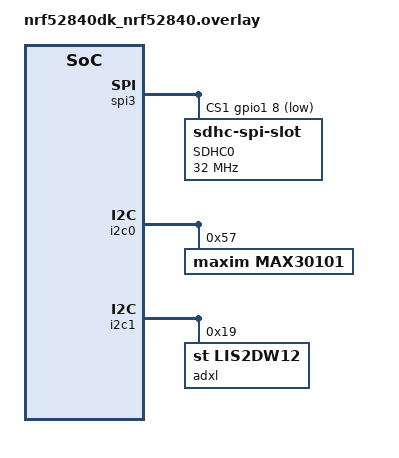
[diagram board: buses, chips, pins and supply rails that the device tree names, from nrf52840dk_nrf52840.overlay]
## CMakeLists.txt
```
#-------------------------------------------------------------------------------
# Zephyr Example Application
#
# Copyright (c) 2021 Nordic Semiconductor ASA
# SPDX-License-Identifier: Apache-2.0

cmake_minimum_required(VERSION 3.13.1)

set(CMAKE_CXX_STANDARD 17)
set(CMAKE_CXX_STANDARD_REQUIRED ON)

set(CONFIG_LIB_CPLUSPLUS ON)
set(CONFIG_NEWLIB_LIBC ON)

find_package(Zephyr REQUIRED HINTS $ENV{ZEPHYR_BASE})

project(app)

file(GLOB_RECURSE SRCS_CPP ${CMAKE_SOURCE_DIR}/src/*.cpp)
file(GLOB_RECURSE SRCS_C ${CMAKE_SOURCE_DIR}/src/*.c)

target_sources(app PRIVATE ${SRCS_CPP} ${SRCS_C})
target_include_directories(app PRIVATE
    ${CMAKE_SOURCE_DIR}/src)
```

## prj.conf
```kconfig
# Copyright (c) 2021 Nordic Semiconductor ASA
# SPDX-License-Identifier: Apache-2.0
#
# This file contains selected Kconfig options for the application.
# CONFIG_SHELL=y

CONFIG_MAIN_STACK_SIZE=4096

CONFIG_ST7789V=y
CONFIG_ST7789V_RGB565=y
CONFIG_DISPLAY=y
CONFIG_DISPLAY_LOG_LEVEL_ERR=y

CONFIG_LOG=y
CONFIG_LOG_PRINTK=y

CONFIG_LVGL=y
CONFIG_LV_Z_MEM_POOL_SIZE=8192
# CONFIG_LV_Z_SHELL=y
CONFIG_LV_USE_LOG=y
CONFIG_LV_LOG_LEVEL_WARN=y
CONFIG_LV_USE_LABEL=y
CONFIG_LV_USE_IMG=y
CONFIG_LV_USE_PNG=y
CONFIG_LV_FONT_MONTSERRAT_14=y
CONFIG_LV_THEME_DEFAULT_DARK=n
CONFIG_LV_Z_USE_FILESYSTEM=y

CONFIG_BT=y
CONFIG_BT_PERIPHERAL=y
CONFIG_BT_DEVICE_NAME="MDPP"

# Enable the NUS service
CONFIG_BT_ZEPHYR_NUS=y

# Enable power management
CONFIG_PM_DEVICE=y
CONFIG_POWEROFF=y

CONFIG_SPI=y

CONFIG_DISK_ACCESS=y
CONFIG_DISK_DRIVERS=y
CONFIG_FAT_FILESYSTEM_ELM=y
CONFIG_FILE_SYSTEM=y
CONFIG_FILE_SYSTEM_SHELL=y

CONFIG_DISK_DRIVER_SDMMC=y

# Enable C++
CONFIG_CPP=y
CONFIG_NEWLIB_LIBC=y
CONFIG_NEWLIB_LIBC_FLOAT_PRINTF=y
CONFIG_CBPRINTF_FP_SUPPORT=y

# MAX30101  
CONFIG_I2C=y
CONFIG_SENSOR=y
CONFIG_MAX30101=y
CONFIG_MAX30101_MULTI_LED_MODE=y
CONFIG_MAX30101_ADC_RGE=3
CONFIG_MAX30101_LED1_PA=0x19
CONFIG_MAX30101_LED2_PA=0x19
CONFIG_MAX30101_LED3_PA=0x19
CONFIG_MAX30101_SLOT1=1
CONFIG_MAX30101_SLOT2=2
CONFIG_MAX30101_SLOT3=3
CONFIG_MAX30101_SLOT4=0

# Enable ADXL
CONFIG_LIS2DW12=y
CONFIG_SENSOR=y

# Enable MCUBOOT
CONFIG_BOOTLOADER_MCUBOOT=y

CONFIG_CMSIS_DSP=y
CONFIG_CMSIS_DSP_FILTERING=y
```

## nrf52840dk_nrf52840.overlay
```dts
// To get started, press Ctrl+Space to bring up the completion menu and view the available nodes.

// You can also use the buttons in the sidebar to perform actions on nodes.
// Actions currently available include:

// * Enabling / disabling the node
// * Adding the bus to a bus
// * Removing the node
// * Connecting ADC channels

// For more help, browse the DeviceTree documentation at https: //docs.zephyrproject.org/latest/guides/dts/index.html
// You can also visit the nRF DeviceTree extension documentation at https: //docs.nordicsemi.com/bundle/nrf-connect-vscode/page/guides/ncs_configure_app.html#devicetree-support-in-the-extension

&spi1 {
	status = "disabled";
};

&spi3 {
	status = "okay";
	cs-gpios = <&gpio1 12 GPIO_ACTIVE_LOW>, <&gpio1 8 GPIO_ACTIVE_LOW>;

	sdhc0: sdhc@1 {
		compatible = "zephyr,sdhc-spi-slot";
		reg = <1>;
		status = "okay";
		label = "SDHC0";		
		mmc {
			compatible = "zephyr,sdmmc-disk";
			status = "okay";
			disk-name = "SD";
		};
		spi-max-frequency = <32000000>;
	};
};

&i2c0 {
	max30101@57 {
		status = "okay";
		compatible = "maxim,max30101";
		reg = <0x57>;
	};
};

&i2c1 {
	status = "okay";
	adxl@19 {
		status = "okay";
		compatible = "st,lis2dw12";
		reg = <0x19>;	
		odr = <400>;
		power-mode = <4>;	
		low-noise;
	};
};

// &uart0 {
// 	current-speed = <460800>;
// };
```

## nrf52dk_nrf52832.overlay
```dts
// To get started, press Ctrl+Space to bring up the completion menu and view the available nodes.

// You can also use the buttons in the sidebar to perform actions on nodes.
// Actions currently available include:

// * Enabling / disabling the node
// * Adding the bus to a bus
// * Removing the node
// * Connecting ADC channels

// For more help, browse the DeviceTree documentation at https: //docs.zephyrproject.org/latest/guides/dts/index.html
// You can also visit the nRF DeviceTree extension documentation at https: //docs.nordicsemi.com/bundle/nrf-connect-vscode/page/guides/ncs_configure_app.html#devicetree-support-in-the-extension

&spi1 {
	status = "disabled";
};

&spi2 {
	status = "okay";
	cs-gpios = <&gpio0 22 GPIO_ACTIVE_LOW>, <&gpio0 18 GPIO_ACTIVE_LOW>;

	sdhc0: sdhc@1 {
		compatible = "zephyr,sdhc-spi-slot";
		reg = <1>;
		status = "okay";
		label = "SDHC0";		
		mmc {
			compatible = "zephyr,sdmmc-disk";
			status = "okay";
			disk-name = "SD";
		};
		spi-max-frequency = <32000000>;
	};
};

&i2c0 {
	max30101@57 {
		status = "okay";
		compatible = "maxim,max30101";
		reg = <0x57>;
	};
};

&i2c1 {
	status = "okay";
	adxl@19 {
		status = "okay";
		compatible = "st,lis2dw12";
		reg = <0x19>;	
		odr = <400>;
		power-mode = <4>;	
		low-noise;
	};
};

// &uart0 {
// 	current-speed = <460800>;
// };
```

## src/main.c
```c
/*
 * Copyright (c) 2021 Nordic Semiconductor ASA
 * SPDX-License-Identifier: Apache-2.0
 */

#include <zephyr/kernel.h>
#include <zephyr/drivers/sensor.h>
#include <zephyr/logging/log.h>
#include <zephyr/drivers/display.h>
#include <zephyr/drivers/gpio.h>

#include <lvgl.h>

#include <zephyr/bluetooth/bluetooth.h>
#include <zephyr/bluetooth/uuid.h>
#include <zephyr/bluetooth/gatt.h>
#include <zephyr/bluetooth/hci.h>
#include <zephyr/bluetooth/services/nus.h>

#include <zephyr/pm/device.h>
#include <zephyr/sys/poweroff.h>

#include <zephyr/storage/disk_access.h>
#include <zephyr/fs/fs.h>

#include <ff.h>

#include <app_version.h>

LOG_MODULE_REGISTER(main, CONFIG_APP_LOG_LEVEL);

#define DISK_DRIVE_NAME "SD"
#define DISK_MOUNT_PT "/" DISK_DRIVE_NAME ":"
#define IMG_FILE_PATH "/" DISK_DRIVE_NAME ":/51.png"

#define FS_RET_OK FR_OK

#define MAX_PATH 128
#define SOME_FILE_NAME "some.dat"
#define SOME_DIR_NAME "some"
#define SOME_REQUIRED_LEN MAX(sizeof(SOME_FILE_NAME), sizeof(SOME_DIR_NAME))

static int lsdir(const char *path);

static const char *disk_mount_pt = DISK_MOUNT_PT;

static FATFS fat_fs;
/* mounting info */
static struct fs_mount_t mp = {
	.type = FS_FATFS,
	.fs_data = &fat_fs,
};

#define DEVICE_NAME CONFIG_BT_DEVICE_NAME
#define DEVICE_NAME_LEN (sizeof(DEVICE_NAME) - 1)

lv_obj_t *text_label;

static const struct gpio_dt_spec sw0 = GPIO_DT_SPEC_GET(DT_ALIAS(sw0), gpios);
static const struct gpio_dt_spec led0 = GPIO_DT_SPEC_GET(DT_ALIAS(led0), gpios);
static const struct gpio_dt_spec led1 = GPIO_DT_SPEC_GET(DT_ALIAS(led1), gpios);
static const struct gpio_dt_spec led2 = GPIO_DT_SPEC_GET(DT_ALIAS(led2), gpios);

const struct device *display_dev;

static struct bt_conn *current_conn;

static struct k_work advertise_work;

void parse_data(uint8_t *data, uint16_t len);

static const struct bt_data ad[] = {
	BT_DATA_BYTES(BT_DATA_FLAGS, (BT_LE_AD_GENERAL | BT_LE_AD_NO_BREDR)),
	BT_DATA(BT_DATA_NAME_COMPLETE, DEVICE_NAME, DEVICE_NAME_LEN),
};

static const struct bt_data sd[] = {
	BT_DATA_BYTES(BT_DATA_UUID128_ALL, BT_UUID_NUS_SRV_VAL),
};

static void notif_enabled(bool enabled, void *ctx)
{
	ARG_UNUSED(ctx);

	printk("%s() - %s\n", __func__, (enabled ? "Enabled" : "Disabled"));

	if (enabled)
	{
		lv_label_set_text(text_label, "BLE Notifications Enabled");
		lv_obj_align(text_label, LV_ALIGN_TOP_LEFT, 0, 0);
		gpio_pin_set_dt(&led2, 1);
	}
	else
	{
		lv_label_set_text(text_label, "BLE Notifications Disabled");
		lv_obj_align(text_label, LV_ALIGN_TOP_LEFT, 0, 0);
		gpio_pin_set_dt(&led2, 0);
	}
}

static void received(struct bt_conn *conn, const void *data, uint16_t len, void *ctx)
{
	ARG_UNUSED(conn);
	ARG_UNUSED(ctx);

	char addr[BT_ADDR_LE_STR_LEN] = {0};

	bt_addr_le_to_str(bt_conn_get_dst(conn), addr, ARRAY_SIZE(addr));

	LOG_INF("Received data from: %s", addr);

	parse_data((uint8_t *)data, len);
}

struct bt_nus_cb nus_listener = {
	.notif_enabled = notif_enabled,
	.received = received,
};

static void advertise(struct k_work *work)
{
	int err;

	err = bt_le_adv_start(BT_LE_ADV_CONN_FAST_1, ad, ARRAY_SIZE(ad), sd, ARRAY_SIZE(sd));
	if (err) {
		LOG_ERR("Advertising failed to start (rc %d)", err);
		return;
	}

	LOG_INF("Advertising successfully started");
}


static void connected(struct bt_conn *conn, uint8_t err)
{
	char addr[BT_ADDR_LE_STR_LEN];

	if (err)
	{
		LOG_ERR("Connection failed, err 0x%02x %s", err, bt_hci_err_to_str(err));
		k_work_submit(&advertise_work);
		return;
	}

	bt_addr_le_to_str(bt_conn_get_dst(conn), addr, sizeof(addr));
	LOG_INF("Connected %s", addr);

	current_conn = bt_conn_ref(conn);

	lv_label_set_text(text_label, "BLE Connected");
	lv_obj_align(text_label, LV_ALIGN_TOP_LEFT, 0, 0);

	gpio_pin_set_dt(&led1, 1);
}

static void disconnected(struct bt_conn *conn, uint8_t reason)
{
	char addr[BT_ADDR_LE_STR_LEN];

	bt_addr_le_to_str(bt_conn_get_dst(conn), addr, sizeof(addr));

	LOG_INF("Disconnected: %s, reason 0x%02x %s", addr, reason, bt_hci_err_to_str(reason));

	if (current_conn)
	{
		bt_conn_unref(current_conn);
		current_conn = NULL;
	}

	lv_label_set_text(text_label, "BLE Disconnected");
	lv_obj_align(text_label, LV_ALIGN_TOP_LEFT, 0, 0);

	gpio_pin_set_dt(&led1, 0);
	gpio_pin_set_dt(&led2, 0);
}

static void on_conn_recycled(void)
{
	k_work_submit(&advertise_work);
}

BT_CONN_CB_DEFINE(conn_callbacks) = {
	.connected = connected,
	.disconnected = disconnected,
	.recycled = on_conn_recycled,
};

static void bt_ready(int err)
{
	if (err != 0) {
		LOG_ERR("Bluetooth failed to initialise: %d", err);
	} else {
		k_work_submit(&advertise_work);
	}
}

void system_off(void)
{
	int err;

	LOG_INF("System off");

	err = pm_device_action_run(display_dev, PM_DEVICE_ACTION_SUSPEND);
	if (err < 0)
	{
		printf("Could not suspend display (%d)\n", err);
	}

	gpio_pin_set_dt(&led0, 0);
	gpio_pin_set_dt(&led1, 0);
	gpio_pin_set_dt(&led2, 0);

	sys_poweroff();
}

// prase received data
void parse_data(uint8_t *data, uint16_t len)
{
	// command "OFF"

	if (len == 3 && data[0] == 'O' && data[1] == 'F' && data[2] == 'F')
	{
		LOG_INF("Received OFF command");

		system_off();
	}
}

/* List dir entry by path
 *
 * @param path Absolute path to list
 *
 * @return Negative errno code on error, number of listed entries on
 *         success.
 */
static int lsdir(const char *path)
{
	int res;
	struct fs_dir_t dirp;
	static struct fs_dirent entry;
	int count = 0;

	fs_dir_t_init(&dirp);

	/* Verify fs_opendir() */
	res = fs_opendir(&dirp, path);
	if (res)
	{
		printk("Error opening dir %s [%d]\n", path, res);
		return res;
	}

	printk("\nListing dir %s ...\n", path);
	for (;;)
	{
		/* Verify fs_readdir() */
		res = fs_readdir(&dirp, &entry);

		/* entry.name[0] == 0 means end-of-dir */
		if (res || entry.name[0] == 0)
		{
			break;
		}

		if (entry.type == FS_DIR_ENTRY_DIR)
		{
			printk("[DIR ] %s\n", entry.name);
		}
		else
		{
			printk("[FILE] %s (size = %zu)\n",
				   entry.name, entry.size);
		}
		count++;
	}

	/* Verify fs_closedir() */
	fs_closedir(&dirp);
	if (res == 0)
	{
		res = count;
	}

	return res;
}

static int init_sd_card(void)
{
	static const char *disk_pdrv = "SD";
	uint64_t memory_size_mb;
	uint32_t block_count;
	uint32_t block_size;

	int err;

	if (disk_access_ioctl(disk_pdrv,
						  DISK_IOCTL_CTRL_INIT, NULL) != 0)
	{
		LOG_ERR("Storage init ERROR!");
		return -1;
	}

	if (disk_access_ioctl(disk_pdrv, DISK_IOCTL_GET_SECTOR_COUNT, &block_count))
	{
		printk("Unable to get sector count");
		return -1;
	}

	if (disk_access_ioctl(disk_pdrv, DISK_IOCTL_GET_SECTOR_SIZE, &block_size))
	{
		printk("Unable to get sector size");
		return -1;
	}

	memory_size_mb = (uint64_t)block_count * block_size / (1024 * 1024);
	printk("Memory Size(MB): %u\n", (uint32_t)memory_size_mb);

	if (disk_access_ioctl(disk_pdrv,
						  DISK_IOCTL_CTRL_DEINIT, NULL) != 0)
	{
		LOG_ERR("Storage deinit ERROR!");
		return -1;
	}

	mp.mnt_point = disk_mount_pt;

	err = fs_mount(&mp);
	if (err)
	{
		printk("Error mounting fat_fs [%d]\n", err);
		return err;
	}

	if (lsdir(disk_mount_pt) == 0)
	{
	}

	return 0;
}

int main(void)
{
	int ret;

	printk("Zephyr Example Application %s\n", APP_VERSION_STRING);

	display_dev = DEVICE_DT_GET(DT_CHOSEN(zephyr_display));
	if (!device_is_ready(display_dev))
	{
		LOG_ERR("Device not ready, aborting test");
		return 0;
	}

	if (init_sd_card() != 0)
	{
		LOG_ERR("Failed to initialize SD card\n");
		return 0;
	}

	ret = gpio_pin_configure_dt(&sw0, GPIO_INPUT);
	if (ret < 0)
	{
		LOG_ERR("Could not configure sw0 GPIO (%d)\n", ret);
		return 0;
	}

	ret = gpio_pin_interrupt_configure_dt(&sw0, GPIO_INT_LEVEL_ACTIVE);
	if (ret < 0)
	{
		LOG_ERR("Could not configure sw0 GPIO interrupt (%d)\n", ret);
		return 0;
	}

	ret = gpio_pin_configure_dt(&led0, GPIO_OUTPUT);
	if (ret < 0)
	{
		LOG_ERR("Could not configure led0 GPIO (%d)\n", ret);
		return 0;
	}

	ret = gpio_pin_configure_dt(&led1, GPIO_OUTPUT);
	if (ret < 0)
	{
		LOG_ERR("Could not configure led1 GPIO (%d)\n", ret);
		return 0;
	}

	ret = gpio_pin_configure_dt(&led2, GPIO_OUTPUT);
	if (ret < 0)
	{
		LOG_ERR("Could not configure led2 GPIO (%d)\n", ret);
		return 0;
	}

	gpio_pin_set_dt(&led0, 0);
	gpio_pin_set_dt(&led1, 0);
	gpio_pin_set_dt(&led2, 0);

	lv_obj_t *img = lv_img_create(lv_scr_act());

	lv_img_set_src(img, IMG_FILE_PATH);
	lv_obj_align(img, LV_ALIGN_CENTER, 0, 0);

	text_label = lv_label_create(lv_scr_act());
	lv_label_set_text(text_label, "Bluetooth UART example");
	lv_obj_align(text_label, LV_ALIGN_TOP_LEFT, 0, 0);

	lv_timer_handler();
	display_blanking_off(display_dev);

	ret = bt_nus_cb_register(&nus_listener, NULL);
	if (ret)
	{
		printk("Failed to register NUS callback: %d\n", ret);
		return ret;
	}

	k_work_init(&advertise_work, advertise);

	ret = bt_enable(bt_ready);
	if (ret)
	{
		LOG_ERR("Bluetooth init failed (err %d)", ret);
		return 0;
	}

	LOG_INF("Bluetooth initialized");

	while (1)
	{	
		gpio_pin_toggle_dt(&led0);

		lv_timer_handler();
		k_sleep(K_MSEC(1000));
	}

	return 0;
}
```

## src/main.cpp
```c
/*
 * Copyright (c) 2021 Nordic Semiconductor ASA
 * SPDX-License-Identifier: Apache-2.0
 */

#include <zephyr/kernel.h>
#include <zephyr/drivers/sensor.h>
#include <zephyr/logging/log.h>
#include <zephyr/drivers/display.h>
#include <zephyr/drivers/gpio.h>

#include <lvgl.h>

#include <zephyr/bluetooth/bluetooth.h>
#include <zephyr/bluetooth/uuid.h>
#include <zephyr/bluetooth/gatt.h>
#include <zephyr/bluetooth/hci.h>
#include <zephyr/bluetooth/services/nus.h>

#include <zephyr/pm/device.h>
#include <zephyr/sys/poweroff.h>

#include <zephyr/storage/disk_access.h>
#include <zephyr/fs/fs.h>

#include <ff.h>

#include <app_version.h>

#include "MAX30101.hpp"

#include "arm_math.h"

bool is_use_display = false;
bool is_use_ble = false;
bool is_use_sd = false;
bool is_use_ppg = true;
bool is_use_acc = true;

uint8_t ledBrightnessRed = 0;	// Options: 0=Off to 255=50mA
uint8_t ledBrightnessIR = 0;	// Options: 0=Off to 255=50mA
uint8_t ledBrightnessGreen = 0; // Options: 0=Off to 255=50mA

#define PPG_STACK_SIZE 1024
#define PPG_PRIORITY 5

#define ACC_STACK_SIZE 1024
#define ACC_PRIORITY 5

#define FIFO_SAMPLES 32 // MAX30101 FIFO depth
static K_SEM_DEFINE(data_sem, 0, 1);
static struct sensor_value acc_data[3]; // Shared accelerometer data
static bool new_acc_data = false;

extern void ppg_entry_point(void *, void *, void *);

K_THREAD_DEFINE(ppg_tid, ACC_STACK_SIZE,
				ppg_entry_point, NULL, NULL, NULL,
				ACC_PRIORITY, 0, 0);

extern void acc_entry_point(void *, void *, void *);

K_THREAD_DEFINE(acc_tid, PPG_STACK_SIZE,
				acc_entry_point, NULL, NULL, NULL,
				PPG_PRIORITY, 0, 0);

#define IIR_ORDER 2
#define IIR_NUMSTAGES (IIR_ORDER / 2)

static float32_t m_biquad_red_state[IIR_ORDER];
static float32_t m_biquad_ir_state[IIR_ORDER];
static float32_t m_biquad_green_state[IIR_ORDER];
static float32_t m_biquad_coeffs[5 * IIR_NUMSTAGES] =
	{
		0.274727,
		0.549454,
		0.274727,
		0.073624,
	   -0.172531};

arm_biquad_cascade_df2T_instance_f32 const red_iir_inst =
	{
		IIR_ORDER / 2,
		m_biquad_red_state,
		m_biquad_coeffs};

arm_biquad_cascade_df2T_instance_f32 const ir_iir_inst =
	{
		IIR_ORDER / 2,
		m_biquad_ir_state,
		m_biquad_coeffs};

arm_biquad_cascade_df2T_instance_f32 const green_iir_inst =
	{
		IIR_ORDER / 2,
		m_biquad_green_state,
		m_biquad_coeffs};

MAX30101 ppg = MAX30101();

LOG_MODULE_REGISTER(main, CONFIG_APP_LOG_LEVEL);

#define DISK_DRIVE_NAME "SD"
#define DISK_MOUNT_PT "/" DISK_DRIVE_NAME ":"
#define IMG_FILE_PATH "/" DISK_DRIVE_NAME ":/51.png"

#define FS_RET_OK FR_OK

#define MAX_PATH 128
#define SOME_FILE_NAME "some.dat"
#define SOME_DIR_NAME "some"
#define SOME_REQUIRED_LEN MAX(sizeof(SOME_FILE_NAME), sizeof(SOME_DIR_NAME))

static int lsdir(const char *path);

static const char *disk_mount_pt = DISK_MOUNT_PT;

static FATFS fat_fs;
/* mounting info */
static struct fs_mount_t mp = {
	.type = FS_FATFS,
	.fs_data = &fat_fs,
};

#define DEVICE_NAME CONFIG_BT_DEVICE_NAME
#define DEVICE_NAME_LEN (sizeof(DEVICE_NAME) - 1)

lv_obj_t *text_label;

static const struct gpio_dt_spec sw0 = GPIO_DT_SPEC_GET(DT_ALIAS(sw0), gpios);
static const struct gpio_dt_spec led0 = GPIO_DT_SPEC_GET(DT_ALIAS(led0), gpios);
static const struct gpio_dt_spec led1 = GPIO_DT_SPEC_GET(DT_ALIAS(led1), gpios);
static const struct gpio_dt_spec led2 = GPIO_DT_SPEC_GET(DT_ALIAS(led1), gpios);

const struct device *display_dev, *max30101_dev, *adxl_dev;

static struct bt_conn *current_conn;

static struct k_work advertise_work;

void parse_data(uint8_t *data, uint16_t len);

static const struct bt_data ad[] = {
	BT_DATA_BYTES(BT_DATA_FLAGS, (BT_LE_AD_GENERAL | BT_LE_AD_NO_BREDR)),
	BT_DATA(BT_DATA_NAME_COMPLETE, DEVICE_NAME, DEVICE_NAME_LEN),
};

static const struct bt_data sd[] = {
	BT_DATA_BYTES(BT_DATA_UUID128_ALL, BT_UUID_NUS_SRV_VAL),
};

static void notif_enabled(bool enabled, void *ctx)
{
	ARG_UNUSED(ctx);

	printk("%s() - %s\n", __func__, (enabled ? "Enabled" : "Disabled"));

	if (enabled)
	{
		lv_label_set_text(text_label, "BLE Notifications Enabled");
		lv_obj_align(text_label, LV_ALIGN_TOP_LEFT, 0, 0);
		gpio_pin_set_dt(&led2, 1);
	}
	else
	{
		lv_label_set_text(text_label, "BLE Notifications Disabled");
		lv_obj_align(text_label, LV_ALIGN_TOP_LEFT, 0, 0);
		gpio_pin_set_dt(&led2, 0);
	}
}

static void received(struct bt_conn *conn, const void *data, uint16_t len, void *ctx)
{
	ARG_UNUSED(conn);
	ARG_UNUSED(ctx);

	char addr[BT_ADDR_LE_STR_LEN] = {0};

	bt_addr_le_to_str(bt_conn_get_dst(conn), addr, ARRAY_SIZE(addr));

	LOG_INF("Received data from: %s", addr);

	parse_data((uint8_t *)data, len);
}

struct bt_nus_cb nus_listener = {
	.notif_enabled = notif_enabled,
	.received = received,
};

static void advertise(struct k_work *work)
{
	int err;

	err = bt_le_adv_start(BT_LE_ADV_CONN_FAST_1, ad, ARRAY_SIZE(ad), sd, ARRAY_SIZE(sd));
	if (err)
	{
		LOG_ERR("Advertising failed to start (rc %d)", err);
		return;
	}

	LOG_INF("Advertising successfully started");
}

static void connected(struct bt_conn *conn, uint8_t err)
{
	char addr[BT_ADDR_LE_STR_LEN];

	if (err)
	{
		LOG_ERR("Connection failed, err 0x%02x %s", err, bt_hci_err_to_str(err));
		k_work_submit(&advertise_work);
		return;
	}

	bt_addr_le_to_str(bt_conn_get_dst(conn), addr, sizeof(addr));
	LOG_INF("Connected %s", addr);

	current_conn = bt_conn_ref(conn);

	lv_label_set_text(text_label, "BLE Connected");
	lv_obj_align(text_label, LV_ALIGN_TOP_LEFT, 0, 0);

	gpio_pin_set_dt(&led1, 1);
}

static void disconnected(struct bt_conn *conn, uint8_t reason)
{
	char addr[BT_ADDR_LE_STR_LEN];

	bt_addr_le_to_str(bt_conn_get_dst(conn), addr, sizeof(addr));

	LOG_INF("Disconnected: %s, reason 0x%02x %s", addr, reason, bt_hci_err_to_str(reason));

	if (current_conn)
	{
		bt_conn_unref(current_conn);
		current_conn = NULL;
	}

	lv_label_set_text(text_label, "BLE Disconnected");
	lv_obj_align(text_label, LV_ALIGN_TOP_LEFT, 0, 0);

	gpio_pin_set_dt(&led1, 0);
	gpio_pin_set_dt(&led2, 0);
}

static void on_conn_recycled(void)
{
	k_work_submit(&advertise_work);
}

BT_CONN_CB_DEFINE(conn_callbacks) = {
	.connected = connected,
	.disconnected = disconnected,
	.recycled = on_conn_recycled,
};

static void bt_ready(int err)
{
	if (err != 0)
	{
		LOG_ERR("Bluetooth failed to initialise: %d", err);
	}
	else
	{
		k_work_submit(&advertise_work);
	}
}

void system_off(void)
{
	int err;

	LOG_INF("System off");

	err = pm_device_action_run(display_dev, PM_DEVICE_ACTION_SUSPEND);
	if (err < 0)
	{
		printf("Could not suspend display (%d)\n", err);
	}

	gpio_pin_set_dt(&led0, 0);
	gpio_pin_set_dt(&led1, 0);
	gpio_pin_set_dt(&led2, 0);

	sys_poweroff();
}

// prase received data
void parse_data(uint8_t *data, uint16_t len)
{
	// command "OFF"

	if (len == 3 && data[0] == 'O' && data[1] == 'F' && data[2] == 'F')
	{
		LOG_INF("Received OFF command");

		system_off();
	}
}

/* List dir entry by path
 *
 * @param path Absolute path to list
 *
 * @return Negative errno code on error, number of listed entries on
 *         success.
 */
static int lsdir(const char *path)
{
	int res;
	struct fs_dir_t dirp;
	static struct fs_dirent entry;
	int count = 0;

	fs_dir_t_init(&dirp);

	/* Verify fs_opendir() */
	res = fs_opendir(&dirp, path);
	if (res)
	{
		printk("Error opening dir %s [%d]\n", path, res);
		return res;
	}

	printk("\nListing dir %s ...\n", path);
	for (;;)
	{
		/* Verify fs_readdir() */
		res = fs_readdir(&dirp, &entry);

		/* entry.name[0] == 0 means end-of-dir */
		if (res || entry.name[0] == 0)
		{
			break;
		}

		if (entry.type == FS_DIR_ENTRY_DIR)
		{
			printk("[DIR ] %s\n", entry.name);
		}
		else
		{
			printk("[FILE] %s (size = %zu)\n",
				   entry.name, entry.size);
		}
		count++;
	}

	/* Verify fs_closedir() */
	fs_closedir(&dirp);
	if (res == 0)
	{
		res = count;
	}

	return res;
}

static int init_sd_card(void)
{
	static const char *disk_pdrv = "SD";
	uint64_t memory_size_mb;
	uint32_t block_count;
	uint32_t block_size;

	int err;

	if (disk_access_ioctl(disk_pdrv,
						  DISK_IOCTL_CTRL_INIT, NULL) != 0)
	{
		LOG_ERR("Storage init ERROR!");
		return -1;
	}

	if (disk_access_ioctl(disk_pdrv, DISK_IOCTL_GET_SECTOR_COUNT, &block_count))
	{
		printk("Unable to get sector count");
		return -1;
	}

	if (disk_access_ioctl(disk_pdrv, DISK_IOCTL_GET_SECTOR_SIZE, &block_size))
	{
		printk("Unable to get sector size");
		return -1;
	}

	memory_size_mb = (uint64_t)block_count * block_size / (1024 * 1024);
	printk("Memory Size(MB): %u\n", (uint32_t)memory_size_mb);

	if (disk_access_ioctl(disk_pdrv,
						  DISK_IOCTL_CTRL_DEINIT, NULL) != 0)
	{
		LOG_ERR("Storage deinit ERROR!");
		return -1;
	}

	mp.mnt_point = disk_mount_pt;

	err = fs_mount(&mp);
	if (err)
	{
		printk("Error mounting fat_fs [%d]\n", err);
		return err;
	}

	if (lsdir(disk_mount_pt) == 0)
	{
	}

	return 0;
}

int main(void)
{
	int ret;

	printk("Zephyr Example Application %s\n", APP_VERSION_STRING);

	if (is_use_display)
	{

		display_dev = DEVICE_DT_GET(DT_CHOSEN(zephyr_display));
		if (!device_is_ready(display_dev))
		{
			LOG_ERR("Device not ready, aborting test");
			return 0;
		}

		lv_obj_t *img = lv_img_create(lv_scr_act());

		lv_img_set_src(img, IMG_FILE_PATH);
		lv_obj_align(img, LV_ALIGN_CENTER, 0, 0);

		text_label = lv_label_create(lv_scr_act());
		lv_label_set_text(text_label, "Bluetooth UART example");
		lv_obj_align(text_label, LV_ALIGN_TOP_LEFT, 0, 0);

		lv_timer_handler();
		display_blanking_off(display_dev);
	}

	if (is_use_ble)
	{
		ret = bt_nus_cb_register(&nus_listener, NULL);
		if (ret)
		{
			printk("Failed to register NUS callback: %d\n", ret);
			return ret;
		}

		k_work_init(&advertise_work, advertise);

		ret = bt_enable(bt_ready);
		if (ret)
		{
			LOG_ERR("Bluetooth init failed (err %d)", ret);
			return 0;
		}

		LOG_INF("Bluetooth initialized");
	}

	if (is_use_sd)
	{
		if (init_sd_card() != 0)
		{
			LOG_ERR("Failed to initialize SD card\n");
			return 0;
		}
	}

	ret = gpio_pin_configure_dt(&sw0, GPIO_INPUT);
	if (ret < 0)
	{
		LOG_ERR("Could not configure sw0 GPIO (%d)\n", ret);
		return 0;
	}

	ret = gpio_pin_interrupt_configure_dt(&sw0, GPIO_INT_LEVEL_ACTIVE);
	if (ret < 0)
	{
		LOG_ERR("Could not configure sw0 GPIO interrupt (%d)\n", ret);
		return 0;
	}

	ret = gpio_pin_configure_dt(&led0, GPIO_OUTPUT);
	if (ret < 0)
	{
		LOG_ERR("Could not configure led0 GPIO (%d)\n", ret);
		return 0;
	}

	ret = gpio_pin_configure_dt(&led1, GPIO_OUTPUT);
	if (ret < 0)
	{
		LOG_ERR("Could not configure led1 GPIO (%d)\n", ret);
		return 0;
	}

	ret = gpio_pin_configure_dt(&led2, GPIO_OUTPUT);
	if (ret < 0)
	{
		LOG_ERR("Could not configure led2 GPIO (%d)\n", ret);
		return 0;
	}

	gpio_pin_set_dt(&led0, 0);
	gpio_pin_set_dt(&led1, 0);
	gpio_pin_set_dt(&led2, 0);

	while (1)
	{
		gpio_pin_toggle_dt(&led0);
		lv_timer_handler();
		k_sleep(K_MSEC(1000));
	}

	return 0;
}

void calbrate_ppg(void)
{
	LOG_INF("Calibrating PPG sensor...");
	// Initial setup with low brightness values
	uint8_t templedBrightnessRed = 0;
	uint8_t templedBrightnessIR = 0;
	uint8_t templedBrightnessGreen = 0;

	uint8_t sampleAverage = 1; // Use 1 for faster response during calibration
	uint8_t ledMode = 3;	   // All LEDs
	int sampleRate = 1600;	   // 100Hz
	int pulseWidth = 215;
	int adcRange = 16384;

	const uint32_t TARGET_DC = 262144 / 2; // Target DC level
	const uint32_t TOLERANCE = 4096;	   // Tolerance range
	bool is_calibrating = true;
	int stable_count = 0;

	ppg.setup(templedBrightnessRed, templedBrightnessIR, templedBrightnessGreen,
			  sampleAverage, ledMode, sampleRate, pulseWidth, adcRange);

	while (is_calibrating)
	{
		ppg.check();

		while (ppg.available())
		{
			uint32_t red = ppg.getFIFORed();
			uint32_t ir = ppg.getFIFOIR();
			uint32_t green = ppg.getFIFOGreen();

			// Adjust RED LED
			if (red > TARGET_DC + TOLERANCE)
			{
				templedBrightnessRed = MAX(0, templedBrightnessRed - 1);
			}
			else if (red < TARGET_DC - TOLERANCE)
			{
				templedBrightnessRed = MIN(255, templedBrightnessRed + 1);
			}

			// Adjust IR LED
			if (ir > TARGET_DC + TOLERANCE)
			{
				templedBrightnessIR = MAX(0, templedBrightnessIR - 1);
			}
			else if (ir < TARGET_DC - TOLERANCE)
			{
				templedBrightnessIR = MIN(255, templedBrightnessIR + 1);
			}

			// // Adjust GREEN LED
			// if (green > TARGET_DC + TOLERANCE) {
			//     templedBrightnessGreen = MAX(0, templedBrightnessGreen - 1);
			// } else if (green < TARGET_DC - TOLERANCE) {
			//     templedBrightnessGreen = MIN(255, templedBrightnessGreen + 1);
			// }

			templedBrightnessGreen = 255;
			// Update LED brightness
			ppg.setPulseAmplitudeRed(templedBrightnessRed);
			ppg.setPulseAmplitudeIR(templedBrightnessIR);
			ppg.setPulseAmplitudeGreen(templedBrightnessGreen);

			// Print current values
			printk("R:%d(%d),IR:%d(%d),G:%d(%d)\n",
				   templedBrightnessRed, red,
				   templedBrightnessIR, ir,
				   templedBrightnessGreen, green);

			// Check if all LEDs are within tolerance
			if (abs(red - TARGET_DC) < TOLERANCE &&
				abs(ir - TARGET_DC) < TOLERANCE)
			{
				is_calibrating = false;
				ledBrightnessRed = templedBrightnessRed;
				ledBrightnessIR = templedBrightnessIR;
				ledBrightnessGreen = templedBrightnessGreen;
				break;
			}
			ppg.nextSample();
		}
		// k_sleep(K_MSEC(10));  // Prevent tight loop
	}

	LOG_INF("Calibration complete - R:%d, IR:%d, G:%d\n",
			ledBrightnessRed, ledBrightnessIR, ledBrightnessGreen);
}

void ppg_entry_point(void *a, void *b, void *c)
{
	max30101_dev = DEVICE_DT_GET_ANY(maxim_max30101);

	if (!device_is_ready(max30101_dev))
	{
		LOG_ERR("max30101 device is not ready\n");
	}

	if (!ppg.begin(max30101_dev))
	{
		LOG_ERR("Could not begin PPG device...");
	}

	// Setup to sense up to 18 inches, max LED brightness

	calbrate_ppg();

	uint8_t sampleAverage = 2; // Options: 1, 2, 4, 8, 16, 32
	uint8_t ledMode = 3;	   // Options: 1 = Red only, 2 = Red + IR, 3 = Red + IR + Green
	int sampleRate = 100;	   // Options: 50, 100, 200, 400, 800, 1000, 1600, 3200
	int pulseWidth = 215;	   // Options: 69, 118, 215, 411
	int adcRange = 16384;	   // Options: 2048, 4096, 8192, 16384

	ppg.setup(ledBrightnessRed, ledBrightnessIR, ledBrightnessGreen, sampleAverage, ledMode, sampleRate, pulseWidth, adcRange);

	uint32_t red;
	uint32_t ir;
	uint32_t green;
	uint32_t samplesTaken = 0;
	float sampleRateInHz;
	int sampleingRateTarget = (sampleRate / sampleAverage) + 1;
	uint32_t strat_time = k_uptime_get_32();

	while (1)
	{
		ppg.check(); // Check the sensor, read up to 3 samples

		while (ppg.available()) // do we have new data?
		{
			samplesTaken++;

			// Get raw values and convert to float
			float32_t raw_red = (float32_t)ppg.getFIFORed();
			float32_t raw_ir = (float32_t)ppg.getFIFOIR();
			float32_t raw_green = (float32_t)ppg.getFIFOGreen();

			sampleRateInHz = samplesTaken / ((k_uptime_get_32() - strat_time) / 1000.0);

			if (samplesTaken % sampleingRateTarget == 0)
			{
				samplesTaken = 0;
			}

			// Apply filters (in-place processing)
			float32_t filtered_red = raw_red;
			float32_t filtered_ir = raw_ir;
			float32_t filtered_green = raw_green;

			arm_biquad_cascade_df2T_f32(&red_iir_inst, &raw_red, &filtered_red, 1);
			arm_biquad_cascade_df2T_f32(&ir_iir_inst, &raw_ir, &filtered_ir, 1);
			arm_biquad_cascade_df2T_f32(&green_iir_inst, &raw_green, &filtered_green, 1);

			// Print PPG data only if accelerometer data not ready
			printk("C:%d,R:%.1f,IR:%.1f,G:%.1f\n",
				   samplesTaken, filtered_red, filtered_ir, filtered_green);

			ppg.nextSample(); // We're finished with this sample so move to next sample

			// Signal accelerometer to read data
			k_sem_give(&data_sem);

			k_yield();
		}
	}
}

void acc_entry_point(void *a, void *b, void *c)
{
	struct sensor_value accel[3];

	double x, y, z;

	struct sensor_value odr_attr, fs_attr;

	adxl_dev = DEVICE_DT_GET_ANY(st_lis2dw12);

	if (!device_is_ready(adxl_dev))
	{
		LOG_ERR("adxl device is not ready\n");
	}

	while (1)
	{
		// Wait for PPG data ready signal
		if (k_sem_take(&data_sem, K_MSEC(10)) == 0)
		{
			// Read the acceleration data
			if (sensor_sample_fetch_chan(adxl_dev, SENSOR_CHAN_ACCEL_XYZ) == 0)
			{
				sensor_channel_get(adxl_dev, SENSOR_CHAN_ACCEL_XYZ, acc_data);
				// Get accelerometer values
				x = sensor_value_to_double(&acc_data[0]);
				y = sensor_value_to_double(&acc_data[1]);
				z = sensor_value_to_double(&acc_data[2]);

				// Print synchronized data
				// printk("X:%f,Y:%f,Z:%f\n", x, y, z);
				printk("X:127,Y:127,Z:127\n");
			}
		}
	}
}
```

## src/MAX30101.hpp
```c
/*
    This is a modification of the SparkFun MAX3010x Pulse and Proximity Sensor
   Library to run on Zephyr, with some minor additions.
    https://github.com/sparkfun/SparkFun_MAX3010x_Sensor_Library

    Modified by Anthony Wertz, 2023.
*/

/***************************************************
 This is a library written for the Maxim MAX30105 Optical Smoke Detector
 It should also work with the MAX30102. However, the MAX30102 does not have a
 Green LED.

 These sensors use I2C to communicate, as well as a single (optional)
 interrupt line that is not currently supported in this driver.

 Written by Peter Jansen and Nathan Seidle (SparkFun)
 BSD license, all text above must be included in any redistribution.
 *****************************************************/

#pragma once

#include <stdint.h>
#include <zephyr/device.h>
#include <zephyr/drivers/gpio.h>
#include <zephyr/drivers/i2c.h>

#define MAX3010x_MAX_NUM_CHANNELS 3

enum max3010x_mode {
    MAX3010x_MODE_HEART_RATE = 2,
    MAX3010x_MODE_SPO2 = 3,
    MAX3010x_MODE_MULTI_LED = 7,
};

enum max3010x_slot {
    MAX3010x_SLOT_DISABLED = 0,
    MAX3010x_SLOT_RED_LED1_PA,
    MAX3010x_SLOT_IR_LED2_PA,
    MAX3010x_SLOT_GREEN_LED3_PA,
    MAX3010x_SLOT_RED_PILOT_PA,
    MAX3010x_SLOT_IR_PILOT_PA,
    MAX3010x_SLOT_GREEN_PILOT_PA,
};

struct max3010x_config {
    struct i2c_dt_spec i2c;
    uint8_t fifo;
    uint8_t spo2;
    uint8_t led_pa[MAX3010x_MAX_NUM_CHANNELS];
    enum max3010x_mode mode;
    enum max3010x_slot slot[4];
};

class MAX30101
{
public:
    MAX30101();

    bool begin(const struct device *dev);

    uint32_t getRed(void);                  // Returns immediate red value
    uint32_t getIR(void);                   // Returns immediate IR value
    uint32_t getGreen(void);                // Returns immediate green value
    bool safeCheck(uint8_t maxTimeToCheck); // Given a max amount of time,
                                            // check for new data

    // Configuration
    void softReset();
    void shutDown();
    void wakeUp();

    void setLEDMode(uint8_t mode);

    void setADCRange(uint8_t adcRange);
    void setSampleRate(uint8_t sampleRate);
    void setPulseWidth(uint8_t pulseWidth);

    void setPulseAmplitudeRed(uint8_t value);
    void setPulseAmplitudeIR(uint8_t value);
    void setPulseAmplitudeGreen(uint8_t value);
    void setPulseAmplitudeProximity(uint8_t value);

    void setProximityThreshold(uint8_t threshMSB);

    // Multi-led configuration mode (page 22)
    void enableSlot(
        uint8_t slotNumber,
        uint8_t device); // Given slot number, assign a device to slot
    void disableSlots(void);

    // Data Collection

    // Interrupts (page 13, 14)
    uint8_t getINT1(void);  // Returns the main interrupt group
    uint8_t getINT2(void);  // Returns the temp ready interrupt
    void enableAFULL(void); // Enable/disable individual interrupts
    void disableAFULL(void);
    void enableDATARDY(void);
    void disableDATARDY(void);
    void enableALCOVF(void);
    void disableALCOVF(void);
    void enablePROXINT(void);
    void disablePROXINT(void);
    void enableDIETEMPRDY(void);
    void disableDIETEMPRDY(void);

    // FIFO Configuration (page 18)
    void setFIFOAverage(uint8_t samples);
    void enableFIFORollover();
    void disableFIFORollover();
    void setFIFOAlmostFull(uint8_t samples);

    // FIFO Reading
    uint16_t check(void);    // Checks for new data and fills FIFO
    uint8_t available(void); // Tells caller how many new samples are
                             // available (head - tail)
    void nextSample(void);   // Advances the tail of the sense array
    uint32_t getFIFORed(
        void);                // Returns the FIFO sample pointed to by tail
    uint32_t getFIFOIR(void); // Returns the FIFO sample pointed to by tail
    uint32_t getFIFOGreen(
        void); // Returns the FIFO sample pointed to by tail

    uint8_t getWritePointer(void);
    uint8_t getReadPointer(void);
    void clearFIFO(void); // Sets the read/write pointers to zero

    // Proximity Mode Interrupt Threshold
    void setPROXINTTHRESH(uint8_t val);

    // Die Temperature
    float readTemperature();
    float readTemperatureF();

    // Detecting ID/Revision
    uint8_t getRevisionID();
    uint8_t readPartID();

    // Setup the IC with user selectable settings
    void setup(
        uint8_t powerLevelRed = 0x1F,
        uint8_t powerLevelIR = 0x1F,
        uint8_t powerLevelGreen = 0x1F,
        uint8_t sampleAverage = 4,
        uint8_t ledMode = 3,
        int sampleRate = 400,
        int pulseWidth = 411,
        int adcRange = 4096);
    void setupSpO2(
        uint8_t ir_power,
        uint8_t red_power,
        uint8_t sampleAverage,
        uint8_t sampleRate,
        uint8_t pulseWidth,
        uint8_t adcRange);

    // Get configuration registers.
    uint8_t getFIFOConfig();
    uint8_t getParticleConfig();

    uint8_t getPARed();
    uint8_t getPAIR();
    uint8_t getPAGreen();

    // Low-level I2C communication
    uint8_t readRegister8(uint8_t reg);
    void writeRegister8(uint8_t reg, uint8_t value);

    uint8_t burstRead(uint8_t reg, uint16_t size);
    uint8_t burstRead_next();

private:
    const struct device *dev = nullptr;

    static const uint16_t I2C_BUFFER_LENGTH = 288;
    uint8_t burst_read_buffer[I2C_BUFFER_LENGTH];
    uint16_t burst_read_buffer_i = 0;
    uint16_t burst_read_buffer_used = 0;

    // activeLEDs is the number of channels turned on, and can be 1 to 3. 2
    // is common for Red+IR.
    uint8_t activeLEDs; // Gets set during setup. Allows check() to
                        // calculate how many bytes to read from FIFO

    uint8_t revisionID;

    void readRevisionID();

    void bitMask(uint8_t reg, uint8_t mask, uint8_t thing);

    static const int STORAGE_SIZE = 32;
    typedef struct Record
    {
        uint32_t red[STORAGE_SIZE];
        uint32_t IR[STORAGE_SIZE];
        uint32_t green[STORAGE_SIZE];
        uint8_t head;
        uint8_t tail;
    } sense_struct; // This is our circular buffer of readings from the
                    // sensor

    sense_struct sense;
};
```
